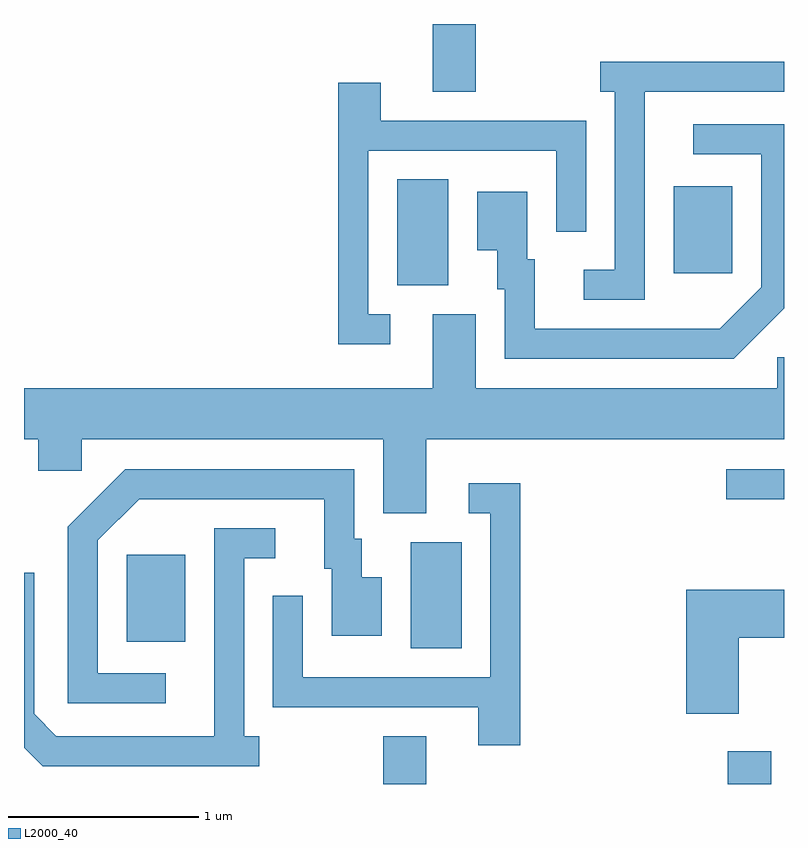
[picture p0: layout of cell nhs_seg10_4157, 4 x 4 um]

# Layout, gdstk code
import gdstk
lib = gdstk.Library(unit=1e-6, precision=1e-09)
def R(c, l, rs):  # rectangles x0, y0, x1, y1
    for r in rs: c.add(gdstk.rectangle(r[:2], r[2:], *l))
def P(c, l, *ps):  # polygons
    for p in ps: c.add(gdstk.Polygon(p, *l))
L2000_40 = (2000, 40)

nhs_seg10_4157 = lib.new_cell('nhs_seg10_4157')
R(nhs_seg10_4157, L2000_40, [(309.501,2136.522,309.729,2136.774), (311.316,2136.522,311.544,2136.694), (309.646,2137.236,309.914,2137.794), (308.151,2137.271,308.459,2137.729), (311.308,2138.021,311.611,2138.179), (309.576,2139.146,309.844,2139.704), (311.031,2139.211,311.339,2139.669), (309.761,2140.166,309.989,2140.522)])
P(nhs_seg10_4157, L2000_40, [(310.879,2140.166),(311.611,2140.166),(311.611,2140.324),(310.643,2140.324),(310.643,2140.166),(310.721,2140.166),(310.721,2139.229),(310.558,2139.229),(310.558,2139.071),(310.879,2139.071)],
  [(309.538,2138.994),(309.424,2138.994),(309.424,2139.856),(310.411,2139.856),(310.411,2139.428),(310.569,2139.428),(310.569,2140.014),(309.489,2140.014),(309.489,2140.214),(309.266,2140.214),(309.266,2138.836),(309.538,2138.836)],
  [(311.611,2139.026),(311.611,2139.994),(311.133,2139.994),(311.133,2139.836),(311.491,2139.836),(311.491,2139.137),(311.274,2138.919),(310.299,2138.919),(310.299,2139.284),(310.259,2139.284),(310.259,2139.639),(309.996,2139.639),(309.996,2139.331),(310.101,2139.331),(310.101,2139.126),(310.141,2139.126),(310.141,2138.761),(311.347,2138.761)],
  [(309.729,2138.336),(311.611,2138.336),(311.611,2138.769),(311.576,2138.769),(311.576,2138.604),(309.989,2138.604),(309.989,2138.994),(309.761,2138.994),(309.761,2138.604),(307.611,2138.604),(307.611,2138.336),(307.686,2138.336),(307.686,2138.171),(307.914,2138.171),(307.914,2138.336),(309.501,2138.336),(309.501,2137.946),(309.729,2137.946)],
  [(308.358,2137.104),(307.999,2137.104),(307.999,2137.804),(308.217,2138.021),(309.191,2138.021),(309.191,2137.656),(309.231,2137.656),(309.231,2137.301),(309.494,2137.301),(309.494,2137.609),(309.389,2137.609),(309.389,2137.814),(309.349,2137.814),(309.349,2138.179),(308.144,2138.179),(307.841,2137.877),(307.841,2136.946),(308.358,2136.946)],
  [(310.224,2138.104),(309.953,2138.104),(309.953,2137.946),(310.066,2137.946),(310.066,2137.084),(309.079,2137.084),(309.079,2137.513),(308.921,2137.513),(308.921,2136.926),(310.001,2136.926),(310.001,2136.726),(310.224,2136.726)],
  [(308.848,2136.774),(308.769,2136.774),(308.769,2137.711),(308.933,2137.711),(308.933,2137.869),(308.611,2137.869),(308.611,2136.774),(307.782,2136.774),(307.664,2136.892),(307.664,2137.633),(307.611,2137.633),(307.611,2136.714),(307.709,2136.616),(308.848,2136.616)],
  [(311.374,2137.291),(311.611,2137.291),(311.611,2137.544),(311.096,2137.544),(311.096,2136.891),(311.374,2136.891)])

lib.write_gds('nhs_seg10_4157.gds')
